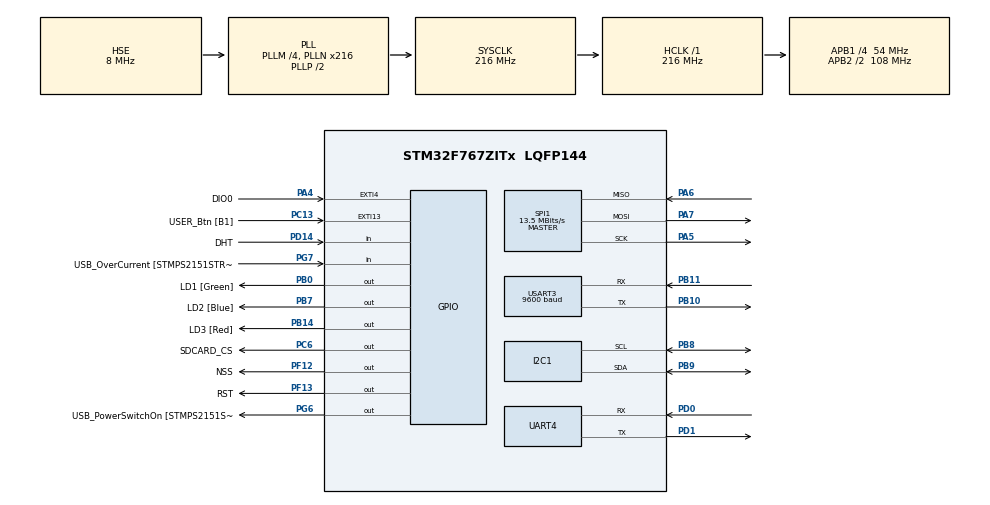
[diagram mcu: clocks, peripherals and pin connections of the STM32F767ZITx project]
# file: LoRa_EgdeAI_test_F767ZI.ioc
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FATFS._MAX_SS=4096
FATFS._USE_LFN=2
FREERTOS.Tasks01=defaultTask,0,128,StartDefaultTask,Default,NULL,Dynamic,NULL,NULL
FREERTOS.configUSE_NEWLIB_REENTRANT=1
I2C1.Timing=0x20404768
Mcu.Family=STM32F7
Mcu.Name=STM32F767ZITx
Mcu.Package=LQFP144
NVIC.EXTI15_10_IRQn=true\:6\:0\:true\:false\:true\:true\:true\:true\:true
NVIC.EXTI4_IRQn=true\:5\:0\:false\:false\:true\:true\:true\:true\:true
NVIC.PriorityGroup=NVIC_PRIORITYGROUP_4
NVIC.TIM1_UP_TIM10_IRQn=true\:6\:0\:true\:false\:true\:true\:true\:true\:true
NVIC.TIM7_IRQn=true\:15\:0\:false\:false\:true\:false\:false\:true\:true
NVIC.TimeBase=TIM7_IRQn
NVIC.TimeBaseIP=TIM7
NVIC.UART4_IRQn=true\:5\:0\:false\:false\:true\:true\:true\:true\:true
NVIC.USART3_IRQn=true\:5\:0\:false\:false\:true\:true\:true\:true\:true
PA13.GPIO_Label=TMS
PA13.Mode=Serial_Wire
PA13.Signal=SYS_JTMS-SWDIO
PA14.GPIO_Label=TCK
PA14.Mode=Serial_Wire
PA14.Signal=SYS_JTCK-SWCLK
PA4.GPIO_Label=DIO0
PA4.Signal=GPXTI4
PA5.Mode=Full_Duplex_Master
PA5.Signal=SPI1_SCK
PA6.GPIO_Speed=GPIO_SPEED_FREQ_VERY_HIGH
PA6.Mode=Full_Duplex_Master
PA6.Signal=SPI1_MISO
PA7.Mode=Full_Duplex_Master
PA7.Signal=SPI1_MOSI
PB0.GPIO_Label=LD1 [Green]
PB0.Signal=GPIO_Output
PB10.Mode=Asynchronous
PB10.Signal=USART3_TX
PB11.Mode=Asynchronous
PB11.Signal=USART3_RX
PB14.GPIO_Label=LD3 [Red]
PB14.Signal=GPIO_Output
PB7.GPIO_Label=LD2 [Blue]
PB7.Signal=GPIO_Output
PB8.Mode=I2C
PB8.Signal=I2C1_SCL
PB9.Mode=I2C
PB9.Signal=I2C1_SDA
PC13.GPIO_Label=USER_Btn [B1]
PC13.Signal=GPXTI13
PC14/OSC32_IN.Signal=RCC_OSC32_IN
PC15/OSC32_OUT.Signal=RCC_OSC32_OUT
PC6.GPIO_Label=SDCARD_CS
PC6.GPIO_Speed=GPIO_SPEED_FREQ_MEDIUM
PC6.PinState=GPIO_PIN_SET
PC6.Signal=GPIO_Output
PD0.Mode=Asynchronous
PD0.Signal=UART4_RX
PD1.Mode=Asynchronous
PD1.Signal=UART4_TX
PD14.GPIO_Label=DHT
PD14.Signal=GPIO_Input
PF12.GPIO_Label=NSS
PF12.PinState=GPIO_PIN_SET
PF12.Signal=GPIO_Output
PF13.GPIO_Label=RST
PF13.PinState=GPIO_PIN_SET
PF13.Signal=GPIO_Output
PG6.GPIO_Label=USB_PowerSwitchOn [STMPS2151STR_EN]
PG6.Signal=GPIO_Output
PG7.GPIO_Label=USB_OverCurrent [STMPS2151STR_FAULT]
PG7.Signal=GPIO_Input
PH0/OSC_IN.GPIO_Label=MCO [STM32F103CBT6_PA8]
PH0/OSC_IN.Mode=HSE-External-Oscillator
PH0/OSC_IN.Signal=RCC_OSC_IN
PH1/OSC_OUT.Mode=HSE-External-Oscillator
PH1/OSC_OUT.Signal=RCC_OSC_OUT
ProjectManager.HeapSize=0x200
ProjectManager.StackSize=0x400
ProjectManager.TargetToolchain=STM32CubeIDE
RCC.48MHZClocksFreq_Value=24000000
RCC.AHBFreq_Value=216000000
RCC.APB1CLKDivider=RCC_HCLK_DIV4
RCC.APB1Freq_Value=54000000
RCC.APB1TimFreq_Value=108000000
RCC.APB2CLKDivider=RCC_HCLK_DIV2
RCC.APB2Freq_Value=108000000
RCC.APB2TimFreq_Value=216000000
RCC.CortexFreq_Value=216000000
RCC.HCLKFreq_Value=216000000
RCC.HSE_VALUE=8000000
RCC.HSI_VALUE=16000000
RCC.LSE_VALUE=32768
RCC.PLLM=4
RCC.PLLMUL=RCC_PLL_MUL9
RCC.PLLN=216
RCC.PLLSourceVirtual=RCC_PLLSOURCE_HSE
RCC.PRESCALERUSB=RCC_USBCLKSOURCE_PLL_DIV1_5
RCC.SYSCLKFreq_VALUE=216000000
RCC.SYSCLKSource=RCC_SYSCLKSOURCE_PLLCLK
RCC.SYSCLKSourceVirtual=RCC_SYSCLKSOURCE_PLLCLK
RCC.USBFreq_Value=216000000
RCC.VCOOutputFreq_Value=432000000
SPI1.BaudRatePrescaler=SPI_BAUDRATEPRESCALER_8
SPI1.CalculateBaudRate=13.5 MBits/s
SPI1.DataSize=SPI_DATASIZE_8BIT
SPI1.Direction=SPI_DIRECTION_2LINES
SPI1.Mode=SPI_MODE_MASTER
SPI1.VirtualType=VM_MASTER
TIM1.Period=8000-1
TIM1.Prescaler=54000-1
TIM1.TIM_MasterOutputTrigger=TIM_TRGO_UPDATE
TIM1.TIM_MasterOutputTrigger2=TIM_TRGO2_UPDATE
TIM8.Prescaler=216-1
USART3.BaudRate=9600
USART3.VirtualMode-Asynchronous=VM_ASYNC
VP_FATFS_VS_Generic.Mode=User_defined
VP_FREERTOS_VS_CMSIS_V1.Mode=CMSIS_V1
VP_SYS_VS_tim7.Mode=TIM7
VP_TIM1_VS_ClockSourceINT.Mode=Internal
VP_TIM8_VS_ClockSourceINT.Mode=Internal
board=NUCLEO-F767ZI

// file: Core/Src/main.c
/* USER CODE BEGIN Header */
/**
  ******************************************************************************
  * @file           : main.c
  * @brief          : Main program body
  ******************************************************************************
  * @attention
  *
  * Copyright (c) 2023 STMicroelectronics.
  * All rights reserved.
  *
  * This software is licensed under terms that can be found in the LICENSE file
  * in the root directory of this software component.
  * If no LICENSE file comes with this software, it is provided AS-IS.
  *
  ******************************************************************************
  */
/* USER CODE END Header */
#include "main.h"
#include "cmsis_os.h"
#include "fatfs.h"

/* USER CODE BEGIN Includes */
#include <stdio.h>
#include <string.h>
#include <time.h>
#include "fatfs_sd.h"
#include "FreeRTOS.h"
#include "task.h"
#include "LoRa.h"
#include "queue.h"
#include "semphr.h"
#include "event_groups.h"

#include "File_Handling_RTOS.h"
#include "DS1307.h"
#include "liquidcrystal_i2c.h"
#include "DHT22.h"
#include "NMEA.h"
#include "uartRingBuffer.h"
/* USER CODE END Includes */

I2C_HandleTypeDef hi2c1;

SPI_HandleTypeDef hspi1;

TIM_HandleTypeDef htim1;
TIM_HandleTypeDef htim8;

UART_HandleTypeDef huart4;
UART_HandleTypeDef huart3;

osThreadId defaultTaskHandle;
/* USER CODE BEGIN PV */
//--------Handle--------
xSemaphoreHandle DHT_Sem;
xSemaphoreHandle LoRa_Sem;
xTaskHandle SDCARD_Task_Handler;
xTaskHandle LORA_Task_Handler;
xTaskHandle DHT_Task_Handler;
xTaskHandle LCD1602Task_Handler;
xTaskHandle GPSR_Task_Handler;

//--------LoRa Service--------
LoRa myLoRa;
uint16_t LoRa_status;
char message[100];
uint8_t TxBuffer[22];
uint8_t RxBuffer[16];
int rssi;
float snr;
char pckt_str[50];
char pckt_buffer[2];
uint8_t txflag = 0;

//--------Environment--------
float Temperature = 0;
float Humidity = 0;
uint8_t Presence = 0;
typedef struct env_Message
{
	float temp;
	float RH;
}myenv_Message;
QueueHandle_t Env_Queue;

//--------RTC--------
RTC_time_t mytime;
RTC_date_t mydate;

//--------GPS--------
char GGA[100];
char RMC[100];
char lcdBuffer[50];
int VCCTimeout;
int flagGGA, flagRMC;
float fix_latitude, fix_longitude;
float lat_afterPoint, lon_afterPoint;

typedef struct Message
{
	float fix_lon;
	float fix_lat;
}myGPS_message;
QueueHandle_t GPS_locQueue;

GPSSTRUCT gpsData;
//--------SD--------
char rxData;
int commandflag = 0;
/* USER CODE END PV */

void SystemClock_Config(void);
static void MX_GPIO_Init(void);
static void MX_SPI1_Init(void);
static void MX_UART4_Init(void);
static void MX_I2C1_Init(void);
static void MX_USART3_UART_Init(void);
static void MX_TIM1_Init(void);
static void MX_TIM8_Init(void);
void StartDefaultTask(void const * argument);

/* USER CODE BEGIN 0 */
void HAL_UART_RxCpltCallback(UART_HandleTypeDef *huart)
{
	if(huart->Instance == UART4){
		rxData = huart->Instance->RDR;
		HAL_UART_Receive_IT(&huart4, &rxData, 1);
	}

}

void HAL_GPIO_EXTI_Callback(uint16_t GPIO_Pin)
{
  if(GPIO_Pin == DIO0_Pin)
  {
	  if(LoRa_receive(&myLoRa, RxBuffer, 16))
	  {
		  rssi = LoRa_getRSSI(&myLoRa);
		  snr = LoRa_getSNR(&myLoRa);
		  memset(pckt_str, NULL, strlen(pckt_str));
		  for(int i =0;i<16;i++)
		  {
			  if(RxBuffer[i] < 16) strcat(pckt_str, "0");
			  strcat(pckt_str, itoa(RxBuffer[i], pckt_buffer, 16));
			  strcat(pckt_str, " ");
		  }
		  sprintf(message, "Receive message: %s, RSSI = %d, SNR = %.2f\r\n", pckt_str, rssi, snr);
		  HAL_UART_Transmit(&huart4, (uint8_t *)message, strlen(message), 0xffff);
		  memset(message, NULL, strlen(message));
	  }

  }
	if(GPIO_Pin==USER_Btn_Pin)
	{
		for(int i = 0;i<3;i++){ delay(60000);}

		if(HAL_GPIO_ReadPin(USER_Btn_GPIO_Port, USER_Btn_Pin) == GPIO_PIN_RESET){
			HAL_GPIO_WritePin(LD2_GPIO_Port, LD2_Pin, GPIO_PIN_SET);
			HAL_UART_Transmit(&huart4, (uint8_t*)"Button Interrupt\r\n", strlen(message), 0xffff);
			// priority higher than gpsr result in flag = 0
			BaseType_t xHigherPriorityTaskWoken = pdFALSE;
			xSemaphoreGiveFromISR (LoRa_Sem, &xHigherPriorityTaskWoken);
			portEND_SWITCHING_ISR(xHigherPriorityTaskWoken);
		}
	}
}

void LED1_Task(void* pvParameter);
void LED3_Task(void* pvParameter);
void SDCARD_Task(void* pvParameter);
void LoRa_Task(void* pvParameter);
void RTC_Task(void* pvParameter);
void GPSR_Task(void* pvParameter);
void DHT22_Task(void* pvParameter);
void LCD1602_Task(void* pvParameter);

void float2Bytes(float val,uint8_t* bytes_array){
  // Create union of shared memory space
  union {
    float float_variable;
    uint8_t temp_array[4];
  } u;
  // Overwrite bytes of union with float variable
  u.float_variable = val;
  // Assign bytes to input array
  memcpy(bytes_array, u.temp_array, 4);
}

void LED1_Task(void* pvParameter)
{
	while(1)
	{
		HAL_GPIO_WritePin(LD1_GPIO_Port, LD1_Pin, GPIO_PIN_SET);	//Green LED High
		vTaskDelay(500);
		HAL_GPIO_WritePin(LD1_GPIO_Port, LD1_Pin, GPIO_PIN_RESET);	//Green LED Low
		vTaskDelay(500);
	}
}

void LED3_Task(void* pvParameter)
{
	while(1)
	{
		HAL_GPIO_WritePin(LD3_GPIO_Port, LD3_Pin, GPIO_PIN_SET);	//Red LED High
		vTaskDelay(1000);
		HAL_GPIO_WritePin(LD3_GPIO_Port, LD3_Pin, GPIO_PIN_RESET);	//Red LED Low
		vTaskDelay(1000);
	}
}

void LoRa_Task(void* pvParameter)
{
	vTaskDelay(5000);// Delay
	myLoRa = newLoRa();

	myLoRa.CS_port         = NSS_GPIO_Port;
	myLoRa.CS_pin          = NSS_Pin;
	myLoRa.reset_port      = RST_GPIO_Port;
	myLoRa.reset_pin       = RST_Pin;
	myLoRa.DIO0_port       = DIO0_GPIO_Port;
	myLoRa.DIO0_pin        = DIO0_Pin;
	myLoRa.hSPIx           = &hspi1;

	myLoRa.frequency             = 920;             // default = 433 MHz
	myLoRa.spredingFactor        = SF_10;           // default = SF_7
	myLoRa.bandWidth             = BW_125KHz;       // default = BW_125KHz
	myLoRa.crcRate               = CR_4_8;          // default = CR_4_5
	myLoRa.power                 = POWER_20db;      // default = 20db
	myLoRa.overCurrentProtection = 150;             // default = 100 mA

	uint16_t LoRa_status = LoRa_init(&myLoRa);
	sprintf(message, "LoRa initialization ..");
	HAL_UART_Transmit(&huart4, (uint8_t *)message, strlen(message), 0xffff);
	memset(message, NULL, strlen(message));
	if(LoRa_status != LORA_OK){
		sprintf(message, " fail ! \r\n");
		HAL_UART_Transmit(&huart4, (uint8_t *)message, strlen(message), 0xffff);
		memset(message, NULL, strlen(message));
		while(1);
	}
	else if(LoRa_status == LORA_OK)
	{
		sprintf(message, " success !\r\n");
		HAL_UART_Transmit(&huart4, (uint8_t *)message, strlen(message), 0xffff);
		memset(message, NULL, strlen(message));
	}

	LoRa_startReceiving(&myLoRa);

	while(1)
	{
		if(xSemaphoreTake(LoRa_Sem, 4700) != pdTRUE){
			char *info = pvPortMalloc(50*sizeof(char));
			sprintf(info, "Unable to acquire LoRa semaphore !!!\r\n");
			HAL_UART_Transmit(&huart4, (uint8_t*)info, strlen(info), 0xffff);
			vPortFree(info);
		}else{
			TxBuffer[0] = 0x01; // mobile iD
			TxBuffer[1] = mytime.hours; // 3-6 Time
			TxBuffer[2] = mytime.minutes;
			TxBuffer[3] = mytime.seconds;
			float2Bytes(Temperature, &TxBuffer[4]); // 4-11 Sensor Data
			float2Bytes(Humidity, &TxBuffer[8]);
			float2Bytes(fix_latitude, &TxBuffer[12]); // 12-19 GPS position Data
			float2Bytes(fix_longitude, &TxBuffer[16]);
			TxBuffer[21] = 0x00;// 20 Checksum
			for(int i = 0;i < 21; i++){
				TxBuffer[20] = TxBuffer[20] + TxBuffer[i];
			}

			char pckt_strcat[50];

			for(int i = 0;i < 21; i++)
			{
				if (TxBuffer[i] < 16) strcat(pckt_str, "0");
				strcat((char*)pckt_strcat, itoa(TxBuffer[i], pckt_buffer, 16));
				strcat((char*)pckt_strcat, " ");
			}
			sprintf(pckt_str, pckt_strcat);
			LoRa_transmit(&myLoRa, TxBuffer, 21, 4000);
			sprintf(message, "Packet size: %d ,Send packet: %s \r\n", sizeof(TxBuffer)/sizeof(TxBuffer[0]), pckt_str);
			HAL_UART_Transmit(&huart4, (uint8_t *)message, strlen(message), 0xffff);
			memset(message, NULL, strlen(message));
			memset(pckt_strcat, NULL, strlen(pckt_strcat));
			memset(pckt_str, NULL, strlen(pckt_str));
			HAL_GPIO_WritePin(LD2_GPIO_Port, LD2_Pin, GPIO_PIN_RESET);	//LD2 Low
		}

	}
}

void GPSR_Task(void* pvParameter){
	vTaskDelay(2000);
	//myGPS_message *locData;
	while(1){

		if (Wait_for("GGA") == 1){

			VCCTimeout = 5000; // Reset the VCC Timeout indicating the GGA is being received

			Copy_upto("*", GGA);
			if(decodeGGA(GGA, &gpsData.ggastruct) == 0) flagGGA = 2; // 2 indicates the data is valid
			else flagGGA = 1;
		}

		if (Wait_for("RMC") == 1){

			VCCTimeout = 5000; // Reset the VCC Timeout indicating the RMC is being received

			Copy_upto("*", RMC);
			if(decodeRMC(RMC, &gpsData.rmcstruct) == 0) flagRMC = 2; // 2 indicates the data is valid
			else flagRMC = 1;
		}

		if ((flagGGA == 2) | (flagRMC == 2)){
			// print the time format
			sprintf(lcdBuffer, "%02d:%02d:%02d, %02d-%02d-%04d\r\n", gpsData.ggastruct.tim.hour, \
				  gpsData.ggastruct.tim.min, gpsData.ggastruct.tim.sec, gpsData.rmcstruct.date.Mon, \
				  gpsData.rmcstruct.date.Day, 2000 + gpsData.rmcstruct.date.Yr);
			HAL_UART_Transmit(&huart4, (uint8_t *)lcdBuffer, strlen(lcdBuffer), 0xffff);
			memset(lcdBuffer, '\0', strlen(lcdBuffer));
			// Convert to google map format
			lat_afterPoint = gpsData.ggastruct.lcation.latitude - (int)(gpsData.ggastruct.lcation.latitude);
			fix_latitude = (int)(gpsData.ggastruct.lcation.latitude) + lat_afterPoint/60*100;
			lon_afterPoint = gpsData.ggastruct.lcation.longitude - (int)(gpsData.ggastruct.lcation.longitude);
			fix_longitude = (int)(gpsData.ggastruct.lcation.longitude) + lon_afterPoint/60*100;
			// print the location format
			sprintf(lcdBuffer, "LAT: %.4f%c, LON: %.4f%c\r\n", fix_latitude, \
				  gpsData.ggastruct.lcation.NS, fix_longitude, gpsData.ggastruct.lcation.EW);
			HAL_UART_Transmit(&huart4, (uint8_t *)lcdBuffer, strlen(lcdBuffer), 0xffff);
			memset(lcdBuffer, '\0', strlen(lcdBuffer));
//			locData->fix_lat = fix_latitude;
//			locData->fix_lon = fix_longitude;
//			xQueueSend(GPS_locQueue, &locData, portMAX_DELAY);
		}
		else if((flagGGA == 1) | (flagRMC == 1)){
			HAL_UART_Transmit(&huart4, "NO FIX YET !!\r\n", 20, 0xffff);
		}

		if (VCCTimeout <= 0){
			VCCTimeout = 5000;  // Reset the timeout

			//reset flags
			flagGGA = 0;
			flagRMC = 0;

			// You are here means the VCC is less, or maybe there is some connection issue
			// Check the VCC, also you can try connecting to the external 5V
			HAL_UART_Transmit(&huart4, "VCC Issue, Check Connection\r\n", 20, 0xffff);
		}
		vTaskDelay(5000);
	}
}

void DHT22_Task(void* pvParameter){
	int index = 1;
	vTaskDelay(900);
	HAL_UART_Transmit(&huart4, (uint8_t*)"DHT22 initialization ..\r\n", 35, 100);
	myenv_Message *envData;
	while(1){
		if(xSemaphoreTake(DHT_Sem, 2500) != pdTRUE){
			HAL_UART_Transmit(&huart4, (uint8_t*)"Unable to acquire semaphore\r\n", 35, 100);
		}
		else{
			if(DHT22_Get_Data(&Temperature, &Humidity) == 1){
				sprintf (message, "%d. Temp = %.2f C\t RH = %.2f%% \r\n",index++, Temperature, Humidity);
				HAL_UART_Transmit(&huart4, (uint8_t *)message, strlen(message), 0xffff);
				memset(message, NULL, strlen(message));
				envData->temp = Temperature;
				envData->RH = Humidity;
				xQueueSend(Env_Queue, &envData, portMAX_DELAY);
			}
		}
	}
}

void LCD_Task(void* pvParameter){
	vTaskDelay(2000);
	HD44780_Clear();
	char* LCD_message;
	LCD_message = pvPortMalloc(50*sizeof(char));
	sprintf(LCD_message, "LCD1602 initialization .. \r\n");
	HAL_UART_Transmit(&huart4, (uint8_t*)LCD_message, strlen(LCD_message), 0xffff);
	sprintf(LCD_message, "Screen init .. ");
	HD44780_SetCursor(0, 0);
	HD44780_PrintStr(LCD_message);
	sprintf(LCD_message, "OK");
	HD44780_SetCursor(0, 1);
	HD44780_PrintStr(LCD_message);
	vPortFree(LCD_message);
	vTaskDelay(1000);
	HD44780_Clear();
	while(1){
		for(int i =0;i < 5;i++){
			HD44780_SetCursor(0, 0);
			LCD_message = pvPortMalloc(50*sizeof(char));
			sprintf(LCD_message, "%02d:%02d:%02d", mytime.hours, mytime.minutes, mytime.seconds);
			HD44780_PrintStr(LCD_message);
			vPortFree(LCD_message);
			HD44780_SetCursor(0, 1);
			LCD_message = pvPortMalloc(50*sizeof(char));
			sprintf(LCD_message, "%02d/%02d/%04d", mydate.month, mydate.date, mydate.year+2000);
			HD44780_PrintStr(LCD_message);
			vPortFree(LCD_message);
			vTaskDelay(800);
		}
		HD44780_SetCursor(0, 0);
		LCD_message = pvPortMalloc(50*sizeof(char));
		sprintf(LCD_message, "lat: %.8f", fix_latitude);
		HD44780_PrintStr(LCD_message);
		vPortFree(LCD_message);
		HD44780_SetCursor(0, 1);
		LCD_message = pvPortMalloc(50*sizeof(char));
		sprintf(LCD_message, "lon: %.8f", fix_longitude);
		HD44780_PrintStr(LCD_message);
		vPortFree(LCD_message);
		vTaskDelay(2000);
		HD44780_Clear();
	}
}

void SDCARD_Task(void* pvParameter){
	vTaskDelay(1000);
	//myGPS_message *RxlocData;
	myenv_Message *RxenvData;
//	taskENTER_CRITICAL();
	char *buffer  = pvPortMalloc(100*sizeof(char));;
	Mount_SD("/");
	Format_SD();
	Create_File("GPSR.csv");
	// Init file
	sprintf(buffer, "Latitude,Longitude,Temperature,Humidity,Time\n");
	Update_File("GPSR.csv", buffer);
	vPortFree(buffer);
	Check_SD_Space();
	Unmount_SD("/");
//	taskEXIT_CRITICAL();

	while (1){
		//xQueueReceive(GPS_locQueue, &RxlocData, portMAX_DELAY);
		xQueueReceive(Env_Queue, &RxenvData, portMAX_DELAY);
//		taskENTER_CRITICAL();
		Mount_SD("/");
		buffer = pvPortMalloc(100*sizeof(char));
		sprintf(buffer, "%.8f,%.8f,%.2f,%.2f,%02d:%02d:%02d\n", fix_latitude, fix_longitude,
				RxenvData->temp, RxenvData->RH,
				mytime.hours,mytime.minutes,mytime.seconds);
		Update_File("GPSR.csv", buffer);
		vPortFree(buffer);
		if(rxData == 'A'){
			Read_File("GPSR.csv");
			rxData =0;
		}
		Unmount_SD("/");
//		taskEXIT_CRITICAL();
		vTaskDelay(7000);
		HAL_UART_Receive_IT(&huart4, &rxData, 1);
	}
}

void RTC_Task(void* pvParameter){
	char* RTC_message = pvPortMalloc(50*sizeof(char));
	if(ds1307_init(&hi2c1)){
		sprintf(RTC_message, "DS1307 initialization .. fail !\r\n");
		HAL_UART_Transmit(&huart4, (uint8_t*)RTC_message, strlen(RTC_message), 0xffff);
		vPortFree(RTC_message);
		while(1);
	}
	RTC_message = pvPortMalloc(50*sizeof(char));
	sprintf(RTC_message, "DS1307 initialization .. success !\r\n");
	HAL_UART_Transmit(&huart4, (uint8_t*)RTC_message, strlen(RTC_message), 0xffff);
	vPortFree(RTC_message);
	mytime.seconds = 0;
	mytime.minutes = 0;
	mytime.hours = 22;
	mytime.time_format = TIME_FORMAT_24HRS;
	mydate.date = 15;
	mydate.day = SATURDAY;
	mydate.month = 10;
	mydate.year = 23;
	ds1307_set_current_time(&mytime);
	ds1307_set_current_date(&mydate);
	int count=0;
	while(1){
		ds1307_get_current_time(&mytime);
		RTC_message = pvPortMalloc(50*sizeof(char));
		sprintf(RTC_message, "Time: %02d:%02d:%02d\r\n", mytime.hours, mytime.minutes, mytime.seconds);
		HAL_UART_Transmit(&huart4, (uint8_t*)RTC_message, strlen(RTC_message), 0xffff);
		vPortFree(RTC_message);

		ds1307_get_current_date(&mydate);
		RTC_message = pvPortMalloc(50*sizeof(char));
		sprintf(RTC_message, "Date: %02d/%02d/%04d\r\n", mydate.month, mydate.date, (mydate.year +2000));
		HAL_UART_Transmit(&huart4, (uint8_t*)RTC_message, strlen(RTC_message), 0xffff);
		vPortFree(RTC_message);
		if(count > 20 && gpsData.ggastruct.isfixValid){
			mytime.hours = gpsData.ggastruct.tim.hour;
			mytime.minutes = gpsData.ggastruct.tim.min;
			mytime.seconds = gpsData.ggastruct.tim.sec;
			ds1307_set_current_time(&mytime);
			count=0;
		}
		count++;
		vTaskDelay(950);
	}
}

/* USER CODE END 0 */

int main(void)
{

  /* MCU Configuration--------------------------------------------------------*/

  /* Reset of all peripherals, Initializes the Flash interface and the Systick. */
  HAL_Init();

  /* Configure the system clock */
  SystemClock_Config();

  /* Initialize all configured peripherals */
  MX_GPIO_Init();
  MX_SPI1_Init();
  MX_UART4_Init();
  MX_FATFS_Init();
  MX_I2C1_Init();
  MX_USART3_UART_Init();
  MX_TIM1_Init();
  MX_TIM8_Init();
  /* USER CODE BEGIN 2 */
  // UART4 HSE must be set to 8 MHz, which is twice the HSI 16 MHz.
  Ringbuf_init();
  HD44780_Init(2);
  //GPS_locQueue = xQueueCreate(5, sizeof(myGPS_message*));
  Env_Queue = xQueueCreate(5, sizeof(myenv_Message*));
  DHT_Sem = xSemaphoreCreateBinary();
  LoRa_Sem = xSemaphoreCreateBinary();
  sprintf(message, "System initialization ... \r\n");
  HAL_UART_Transmit(&huart4, (uint8_t*)message, strlen(message), 0xffff);

//	xTaskCreate(LED1_Task, "LED1", 128, NULL, 1, NULL);
//	xTaskCreate(LED3_Task, "LED3", 128, NULL, 1, NULL);

	xTaskCreate(LoRa_Task, "LoRa", 1024, NULL, 2, NULL);
	xTaskCreate(RTC_Task, "RTC", 256, NULL, 2, NULL);
	xTaskCreate(SDCARD_Task, "SDCARD", 512, NULL, 1, NULL);
	xTaskCreate(GPSR_Task, "GPSR", 512, NULL, 2, NULL);
	xTaskCreate(LCD_Task, "LCD", 256, NULL, 1, NULL);
	xTaskCreate(DHT22_Task, "DHT22", 256, NULL, 4, NULL);
	/*must be put after the HD44780_Init and heap size = 256.
	Otherwise, it doesn't work, nor do the other task with
	priority lower than it. */
	HAL_TIM_Base_Start(&htim8); // us delay timer
	HAL_TIM_Base_Start_IT(&htim1); // periodic delay timer

	vTaskStartScheduler();

  /* USER CODE END 2 */

  /* Create the thread(s) */
  /* definition and creation of defaultTask */
  osThreadDef(defaultTask, StartDefaultTask, osPriorityNormal, 0, 128);
  defaultTaskHandle = osThreadCreate(osThread(defaultTask), NULL);

  /* Start scheduler */
  osKernelStart();

  /* We should never get here as control is now taken by the scheduler */
  /* Infinite loop */
  while (1)
  {

  }
}

void SystemClock_Config(void)
{
  RCC_OscInitTypeDef RCC_OscInitStruct = {0};
  RCC_ClkInitTypeDef RCC_ClkInitStruct = {0};

  /** Configure the main internal regulator output voltage
  */
  __HAL_RCC_PWR_CLK_ENABLE();
  __HAL_PWR_VOLTAGESCALING_CONFIG(PWR_REGULATOR_VOLTAGE_SCALE1);

  /** Initializes the RCC Oscillators according to the specified parameters
  * in the RCC_OscInitTypeDef structure.
  */
  RCC_OscInitStruct.OscillatorType = RCC_OSCILLATORTYPE_HSE;
  RCC_OscInitStruct.HSEState = RCC_HSE_ON;
  RCC_OscInitStruct.PLL.PLLState = RCC_PLL_ON;
  RCC_OscInitStruct.PLL.PLLSource = RCC_PLLSOURCE_HSE;
  RCC_OscInitStruct.PLL.PLLM = 4;
  RCC_OscInitStruct.PLL.PLLN = 216;
  RCC_OscInitStruct.PLL.PLLP = RCC_PLLP_DIV2;
  RCC_OscInitStruct.PLL.PLLQ = 2;
  RCC_OscInitStruct.PLL.PLLR = 2;
  if (HAL_RCC_OscConfig(&RCC_OscInitStruct) != HAL_OK)
  {
    Error_Handler();
  }

  /** Activate the Over-Drive mode
  */
  if (HAL_PWREx_EnableOverDrive() != HAL_OK)
  {
    Error_Handler();
  }

  /** Initializes the CPU, AHB and APB buses clocks
  */
  RCC_ClkInitStruct.ClockType = RCC_CLOCKTYPE_HCLK|RCC_CLOCKTYPE_SYSCLK
                              |RCC_CLOCKTYPE_PCLK1|RCC_CLOCKTYPE_PCLK2;
  RCC_ClkInitStruct.SYSCLKSource = RCC_SYSCLKSOURCE_PLLCLK;
  RCC_ClkInitStruct.AHBCLKDivider = RCC_SYSCLK_DIV1;
  RCC_ClkInitStruct.APB1CLKDivider = RCC_HCLK_DIV4;
  RCC_ClkInitStruct.APB2CLKDivider = RCC_HCLK_DIV2;

  if (HAL_RCC_ClockConfig(&RCC_ClkInitStruct, FLASH_LATENCY_7) != HAL_OK)
  {
    Error_Handler();
  }
}

static void MX_I2C1_Init(void)
{

  hi2c1.Instance = I2C1;
  hi2c1.Init.Timing = 0x20404768;
  hi2c1.Init.OwnAddress1 = 0;
  hi2c1.Init.AddressingMode = I2C_ADDRESSINGMODE_7BIT;
  hi2c1.Init.DualAddressMode = I2C_DUALADDRESS_DISABLE;
  hi2c1.Init.OwnAddress2 = 0;
  hi2c1.Init.OwnAddress2Masks = I2C_OA2_NOMASK;
  hi2c1.Init.GeneralCallMode = I2C_GENERALCALL_DISABLE;
  hi2c1.Init.NoStretchMode = I2C_NOSTRETCH_DISABLE;
  if (HAL_I2C_Init(&hi2c1) != HAL_OK)
  {
    Error_Handler();
  }

  /** Configure Analogue filter
  */
  if (HAL_I2CEx_ConfigAnalogFilter(&hi2c1, I2C_ANALOGFILTER_ENABLE) != HAL_OK)
  {
    Error_Handler();
  }

  /** Configure Digital filter
  */
  if (HAL_I2CEx_ConfigDigitalFilter(&hi2c1, 0) != HAL_OK)
  {
    Error_Handler();
  }

}

static void MX_SPI1_Init(void)
{

  /* SPI1 parameter configuration*/
  hspi1.Instance = SPI1;
  hspi1.Init.Mode = SPI_MODE_MASTER;
  hspi1.Init.Direction = SPI_DIRECTION_2LINES;
  hspi1.Init.DataSize = SPI_DATASIZE_8BIT;
  hspi1.Init.CLKPolarity = SPI_POLARITY_LOW;
  hspi1.Init.CLKPhase = SPI_PHASE_1EDGE;
  hspi1.Init.NSS = SPI_NSS_SOFT;
  hspi1.Init.BaudRatePrescaler = SPI_BAUDRATEPRESCALER_8;
  hspi1.Init.FirstBit = SPI_FIRSTBIT_MSB;
  hspi1.Init.TIMode = SPI_TIMODE_DISABLE;
  hspi1.Init.CRCCalculation = SPI_CRCCALCULATION_DISABLE;
  hspi1.Init.CRCPolynomial = 7;
  hspi1.Init.CRCLength = SPI_CRC_LENGTH_DATASIZE;
  hspi1.Init.NSSPMode = SPI_NSS_PULSE_ENABLE;
  if (HAL_SPI_Init(&hspi1) != HAL_OK)
  {
    Error_Handler();
  }

}

static void MX_TIM1_Init(void)
{

  TIM_ClockConfigTypeDef sClockSourceConfig = {0};
  TIM_MasterConfigTypeDef sMasterConfig = {0};

  htim1.Instance = TIM1;
  htim1.Init.Prescaler = 54000-1;
  htim1.Init.CounterMode = TIM_COUNTERMODE_UP;
  htim1.Init.Period = 8000-1;
  htim1.Init.ClockDivision = TIM_CLOCKDIVISION_DIV1;
  htim1.Init.RepetitionCounter = 0;
  htim1.Init.AutoReloadPreload = TIM_AUTORELOAD_PRELOAD_DISABLE;
  if (HAL_TIM_Base_Init(&htim1) != HAL_OK)
  {
    Error_Handler();
  }
  sClockSourceConfig.ClockSource = TIM_CLOCKSOURCE_INTERNAL;
  if (HAL_TIM_ConfigClockSource(&htim1, &sClockSourceConfig) != HAL_OK)
  {
    Error_Handler();
  }
  sMasterConfig.MasterOutputTrigger = TIM_TRGO_UPDATE;
  sMasterConfig.MasterOutputTrigger2 = TIM_TRGO2_UPDATE;
  sMasterConfig.MasterSlaveMode = TIM_MASTERSLAVEMODE_DISABLE;
  if (HAL_TIMEx_MasterConfigSynchronization(&htim1, &sMasterConfig) != HAL_OK)
  {
    Error_Handler();
  }

}

static void MX_TIM8_Init(void)
{

  TIM_ClockConfigTypeDef sClockSourceConfig = {0};
  TIM_MasterConfigTypeDef sMasterConfig = {0};

  htim8.Instance = TIM8;
  htim8.Init.Prescaler = 216-1;
  htim8.Init.CounterMode = TIM_COUNTERMODE_UP;
  htim8.Init.Period = 65535;
  htim8.Init.ClockDivision = TIM_CLOCKDIVISION_DIV1;
  htim8.Init.RepetitionCounter = 0;
  htim8.Init.AutoReloadPreload = TIM_AUTORELOAD_PRELOAD_DISABLE;
  if (HAL_TIM_Base_Init(&htim8) != HAL_OK)
  {
    Error_Handler();
  }
  sClockSourceConfig.ClockSource = TIM_CLOCKSOURCE_INTERNAL;
  if (HAL_TIM_ConfigClockSource(&htim8, &sClockSourceConfig) != HAL_OK)
  {
    Error_Handler();
  }
  sMasterConfig.MasterOutputTrigger = TIM_TRGO_RESET;
  sMasterConfig.MasterOutputTrigger2 = TIM_TRGO2_RESET;
  sMasterConfig.MasterSlaveMode = TIM_MASTERSLAVEMODE_DISABLE;
  if (HAL_TIMEx_MasterConfigSynchronization(&htim8, &sMasterConfig) != HAL_OK)
  {
    Error_Handler();
  }

}

static void MX_UART4_Init(void)
{

  huart4.Instance = UART4;
  huart4.Init.BaudRate = 115200;
  huart4.Init.WordLength = UART_WORDLENGTH_8B;
  huart4.Init.StopBits = UART_STOPBITS_1;
  huart4.Init.Parity = UART_PARITY_NONE;
  huart4.Init.Mode = UART_MODE_TX_RX;
  huart4.Init.HwFlowCtl = UART_HWCONTROL_NONE;
  huart4.Init.OverSampling = UART_OVERSAMPLING_16;
  huart4.Init.OneBitSampling = UART_ONE_BIT_SAMPLE_DISABLE;
  huart4.AdvancedInit.AdvFeatureInit = UART_ADVFEATURE_NO_INIT;
  if (HAL_UART_Init(&huart4) != HAL_OK)
  {
    Error_Handler();
  }

}

static void MX_USART3_UART_Init(void)
{

  huart3.Instance = USART3;
  huart3.Init.BaudRate = 9600;
  huart3.Init.WordLength = UART_WORDLENGTH_8B;
  huart3.Init.StopBits = UART_STOPBITS_1;
  huart3.Init.Parity = UART_PARITY_NONE;
  huart3.Init.Mode = UART_MODE_TX_RX;
  huart3.Init.HwFlowCtl = UART_HWCONTROL_NONE;
  huart3.Init.OverSampling = UART_OVERSAMPLING_16;
  huart3.Init.OneBitSampling = UART_ONE_BIT_SAMPLE_DISABLE;
  huart3.AdvancedInit.AdvFeatureInit = UART_ADVFEATURE_NO_INIT;
  if (HAL_UART_Init(&huart3) != HAL_OK)
  {
    Error_Handler();
  }

}

static void MX_GPIO_Init(void)
{
  GPIO_InitTypeDef GPIO_InitStruct = {0};

  /* GPIO Ports Clock Enable */
  __HAL_RCC_GPIOC_CLK_ENABLE();
  __HAL_RCC_GPIOH_CLK_ENABLE();
  __HAL_RCC_GPIOA_CLK_ENABLE();
  __HAL_RCC_GPIOB_CLK_ENABLE();
  __HAL_RCC_GPIOF_CLK_ENABLE();
  __HAL_RCC_GPIOD_CLK_ENABLE();
  __HAL_RCC_GPIOG_CLK_ENABLE();

  /*Configure GPIO pin Output Level */
  HAL_GPIO_WritePin(GPIOB, LD1_Pin|LD3_Pin|LD2_Pin, GPIO_PIN_RESET);

  /*Configure GPIO pin Output Level */
  HAL_GPIO_WritePin(GPIOF, NSS_Pin|RST_Pin, GPIO_PIN_SET);

  /*Configure GPIO pin Output Level */
  HAL_GPIO_WritePin(USB_PowerSwitchOn_GPIO_Port, USB_PowerSwitchOn_Pin, GPIO_PIN_RESET);

  /*Configure GPIO pin Output Level */
  HAL_GPIO_WritePin(SDCARD_CS_GPIO_Port, SDCARD_CS_Pin, GPIO_PIN_SET);

  /*Configure GPIO pin : USER_Btn_Pin */
  GPIO_InitStruct.Pin = USER_Btn_Pin;
  GPIO_InitStruct.Mode = GPIO_MODE_IT_RISING;
  GPIO_InitStruct.Pull = GPIO_NOPULL;
  HAL_GPIO_Init(USER_Btn_GPIO_Port, &GPIO_InitStruct);

  /*Configure GPIO pin : DIO0_Pin */
  GPIO_InitStruct.Pin = DIO0_Pin;
  GPIO_InitStruct.Mode = GPIO_MODE_IT_RISING;
  GPIO_InitStruct.Pull = GPIO_NOPULL;
  HAL_GPIO_Init(DIO0_GPIO_Port, &GPIO_InitStruct);

  /*Configure GPIO pins : LD1_Pin LD3_Pin LD2_Pin */
  GPIO_InitStruct.Pin = LD1_Pin|LD3_Pin|LD2_Pin;
  GPIO_InitStruct.Mode = GPIO_MODE_OUTPUT_PP;
  GPIO_InitStruct.Pull = GPIO_NOPULL;
  GPIO_InitStruct.Speed = GPIO_SPEED_FREQ_LOW;
  HAL_GPIO_Init(GPIOB, &GPIO_InitStruct);

  /*Configure GPIO pins : NSS_Pin RST_Pin */
  GPIO_InitStruct.Pin = NSS_Pin|RST_Pin;
  GPIO_InitStruct.Mode = GPIO_MODE_OUTPUT_PP;
  GPIO_InitStruct.Pull = GPIO_NOPULL;
  GPIO_InitStruct.Speed = GPIO_SPEED_FREQ_LOW;
  HAL_GPIO_Init(GPIOF, &GPIO_InitStruct);

  /*Configure GPIO pin : DHT_Pin */
  GPIO_InitStruct.Pin = DHT_Pin;
  GPIO_InitStruct.Mode = GPIO_MODE_INPUT;
  GPIO_InitStruct.Pull = GPIO_NOPULL;
  HAL_GPIO_Init(DHT_GPIO_Port, &GPIO_InitStruct);

  /*Configure GPIO pin : USB_PowerSwitchOn_Pin */
  GPIO_InitStruct.Pin = USB_PowerSwitchOn_Pin;
  GPIO_InitStruct.Mode = GPIO_MODE_OUTPUT_PP;
  GPIO_InitStruct.Pull = GPIO_NOPULL;
  GPIO_InitStruct.Speed = GPIO_SPEED_FREQ_LOW;
  HAL_GPIO_Init(USB_PowerSwitchOn_GPIO_Port, &GPIO_InitStruct);

  /*Configure GPIO pin : USB_OverCurrent_Pin */
  GPIO_InitStruct.Pin = USB_OverCurrent_Pin;
  GPIO_InitStruct.Mode = GPIO_MODE_INPUT;
  GPIO_InitStruct.Pull = GPIO_NOPULL;
  HAL_GPIO_Init(USB_OverCurrent_GPIO_Port, &GPIO_InitStruct);

  /*Configure GPIO pin : SDCARD_CS_Pin */
  GPIO_InitStruct.Pin = SDCARD_CS_Pin;
  GPIO_InitStruct.Mode = GPIO_MODE_OUTPUT_PP;
  GPIO_InitStruct.Pull = GPIO_NOPULL;
  GPIO_InitStruct.Speed = GPIO_SPEED_FREQ_MEDIUM;
  HAL_GPIO_Init(SDCARD_CS_GPIO_Port, &GPIO_InitStruct);

  /* EXTI interrupt init*/
  HAL_NVIC_SetPriority(EXTI4_IRQn, 5, 0);
  HAL_NVIC_EnableIRQ(EXTI4_IRQn);

  HAL_NVIC_SetPriority(EXTI15_10_IRQn, 6, 0);
  HAL_NVIC_EnableIRQ(EXTI15_10_IRQn);

}

void StartDefaultTask(void const * argument)
{
  for(;;)
  {
    osDelay(1);
  }
}

void HAL_TIM_PeriodElapsedCallback(TIM_HandleTypeDef *htim)
{
  /* USER CODE BEGIN Callback 0 */
	if (htim->Instance == TIM1){
		BaseType_t xHigherPriorityTaskWoken = pdFALSE;

		xSemaphoreGiveFromISR(DHT_Sem, &xHigherPriorityTaskWoken);
		portEND_SWITCHING_ISR(xHigherPriorityTaskWoken);
	}
  /* USER CODE END Callback 0 */
  if (htim->Instance == TIM7) {
    HAL_IncTick();
  }
}

void Error_Handler(void)
{
  __disable_irq();
  while (1)
  {
  }
}
